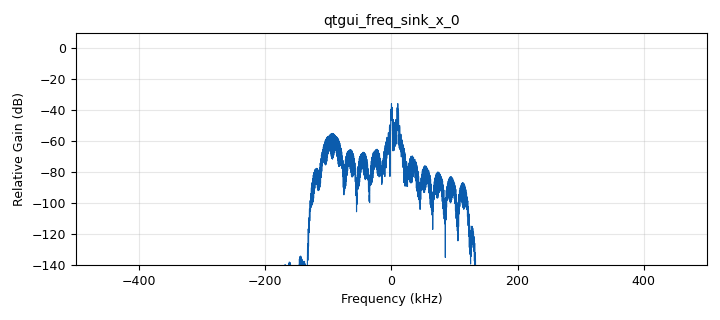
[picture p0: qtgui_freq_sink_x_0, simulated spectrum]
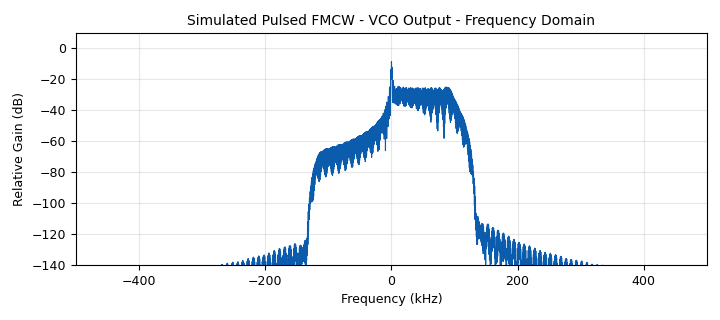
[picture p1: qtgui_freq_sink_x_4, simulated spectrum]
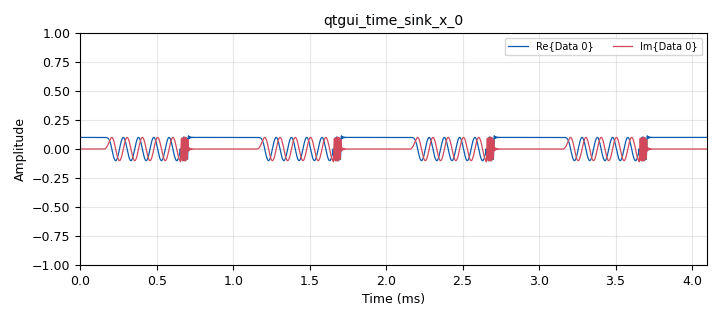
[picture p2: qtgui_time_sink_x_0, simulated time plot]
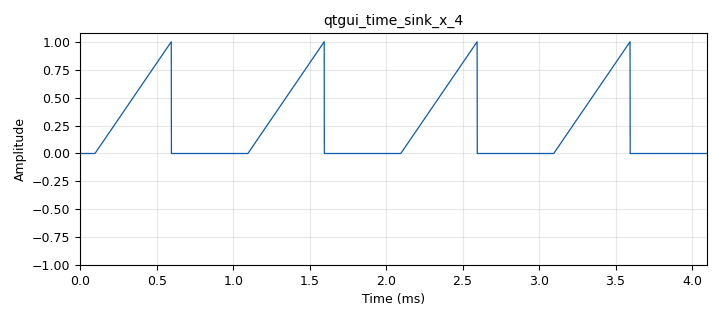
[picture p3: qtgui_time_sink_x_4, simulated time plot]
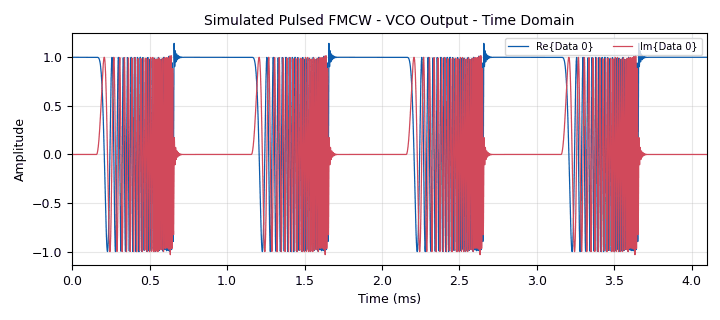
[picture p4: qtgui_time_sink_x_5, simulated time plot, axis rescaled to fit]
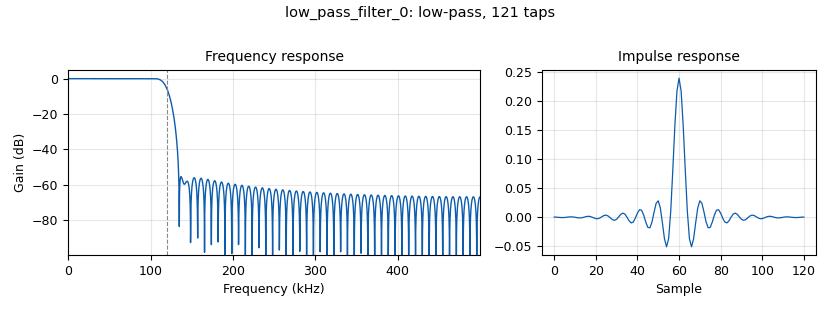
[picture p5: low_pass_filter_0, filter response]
options:
  parameters:
    author: atsy_
    generate_options: qt_gui
    id: audo_fmcw_test
    output_language: python
    title: Not titled yet
  states: {}

blocks:
- name: bw
  id: variable
  parameters:
    value: 100e3
  states: {}
- name: duration
  id: variable
  parameters:
    value: '0.001'
  states: {}
- name: lpf_cutoff
  id: variable
  parameters:
    value: 120e3
  states: {}
- name: pi
  id: variable
  parameters:
    value: math.pi
  states: {}
- name: samp_rate
  id: variable
  parameters:
    value: 1e6
  states: {}
- name: vco_sensitivity
  id: variable
  parameters:
    value: 2*bw*pi
  states: {}
- name: blocks_delay_0
  id: blocks_delay
  parameters:
    delay: '50'
    type: complex
  states: {}
- name: blocks_multiply_conjugate_cc_0
  id: blocks_multiply_conjugate_cc
  parameters: {}
  states: {}
- name: blocks_multiply_const_vxx_0
  id: blocks_multiply_const_vxx
  parameters:
    const: '0.1'
    type: complex
  states: {}
- name: blocks_throttle2_0
  id: blocks_throttle2
  parameters:
    samples_per_second: samp_rate
    type: complex
  states: {}
- name: blocks_vco_c_1
  id: blocks_vco_c
  parameters:
    amplitude: '1'
    samp_rate: samp_rate
    sensitivity: vco_sensitivity
  states: {}
- name: epy_block_0
  id: epy_block
  parameters:
    _source_code: |-
      """
      Embedded Python Blocks:

      Each time this file is saved, GRC will instantiate the first class it finds
      to get ports and parameters of your block. The arguments to __init__  will
      be the parameters. All of them are required to have default values!
      """

      import numpy as np
      from gnuradio import gr

      class blk(gr.sync_block):
          def __init__(self, samp_rate=1e6, bw=100e3, duration=70e-6, total_samples=70):
              gr.sync_block.__init__(
                  self,
                  name="FMCW Ramp with Idle (1MS/s)",
                  in_sig=None,
                  out_sig=[np.float32]
              )

              self.samp_rate = int(samp_rate)
              self.bw = bw
              self.duration = duration
              self.total_samples = int(total_samples)

              self.n_chirp = int(self.total_samples // 2)
              self.n_idle = int(self.total_samples - self.n_chirp)

              # Chirp ramp from -1 to 1 (control input for VCO)
              self.chirp = np.linspace(0, 1.0, self.n_chirp, dtype=np.float32)
              self.idle = np.zeros(self.n_idle, dtype=np.float32)

              self.frame = np.concatenate((self.chirp, self.idle))
              self.ptr = 0

          def work(self, input_items, output_items):
              out = output_items[0]
              
              for i in range(len(out)):
                  out[i] = self.frame[self.ptr]
                  self.ptr = (self.ptr + 1) % self.total_samples
              return len(out)
    bw: bw
    duration: '70e-6'
    samp_rate: samp_rate
    total_samples: samp_rate * duration
  states: {}
- name: import_0
  id: import
  parameters:
    imports: import math
  states: {}
- name: low_pass_filter_0
  id: low_pass_filter
  parameters:
    cutoff_freq: lpf_cutoff
    decim: '1'
    gain: '1'
    samp_rate: samp_rate
    type: fir_filter_ccf
    width: 20e3
    win: window.WIN_HAMMING
  states: {}
- name: low_pass_filter_1
  id: low_pass_filter
  parameters:
    cutoff_freq: lpf_cutoff
    decim: '1'
    gain: '1'
    samp_rate: samp_rate
    type: fir_filter_ccf
    width: 20e3
    win: window.WIN_HAMMING
  states: {}
- name: qtgui_freq_sink_x_0
  id: qtgui_freq_sink_x
  parameters:
    bw: samp_rate
    fc: '0'
    fftsize: '4096'
    type: complex
  states: {}
- name: qtgui_freq_sink_x_4
  id: qtgui_freq_sink_x
  parameters:
    bw: samp_rate
    fc: '0'
    fftsize: '4096'
    name: '"Simulated Pulsed FMCW - VCO Output - Frequency Domain"'
    norm_window: 'True'
    type: complex
  states: {}
- name: qtgui_time_sink_x_0
  id: qtgui_time_sink_x
  parameters:
    size: 1024*4
    srate: samp_rate
    type: complex
  states: {}
- name: qtgui_time_sink_x_4
  id: qtgui_time_sink_x
  parameters:
    size: 1024*4
    srate: samp_rate
    type: float
  states: {}
- name: qtgui_time_sink_x_5
  id: qtgui_time_sink_x
  parameters:
    name: '"Simulated Pulsed FMCW - VCO Output - Time Domain"'
    size: 1024*4
    srate: samp_rate
    type: complex
  states: {}

connections:
- [blocks_delay_0, '0', blocks_multiply_const_vxx_0, '0']
- [blocks_multiply_conjugate_cc_0, '0', low_pass_filter_0, '0']
- [blocks_multiply_const_vxx_0, '0', blocks_multiply_conjugate_cc_0, '1']
- [blocks_throttle2_0, '0', low_pass_filter_1, '0']
- [blocks_vco_c_1, '0', blocks_delay_0, '0']
- [blocks_vco_c_1, '0', blocks_multiply_conjugate_cc_0, '0']
- [blocks_vco_c_1, '0', blocks_throttle2_0, '0']
- [epy_block_0, '0', blocks_vco_c_1, '0']
- [epy_block_0, '0', qtgui_time_sink_x_4, '0']
- [low_pass_filter_0, '0', qtgui_freq_sink_x_0, '0']
- [low_pass_filter_0, '0', qtgui_time_sink_x_0, '0']
- [low_pass_filter_1, '0', qtgui_freq_sink_x_4, '0']
- [low_pass_filter_1, '0', qtgui_time_sink_x_5, '0']

metadata:
  file_format: 1
  grc_version: 3.10.10.0
